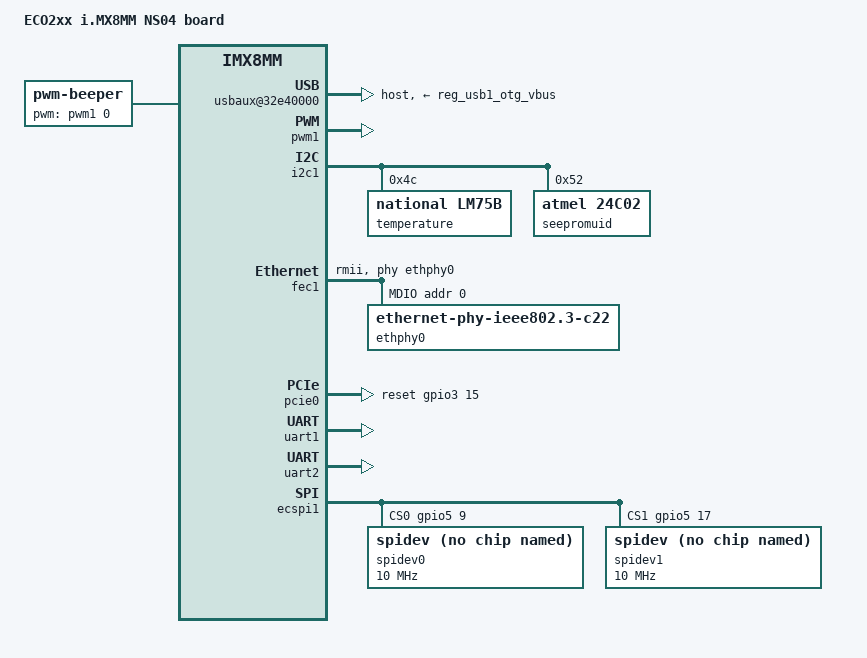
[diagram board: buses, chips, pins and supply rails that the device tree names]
/*
 * Copyright (C) 2019 Exor S.p.a
 * 
 * Written by: G. Pavoni Exor S.p.a.
 * 
 * Copyright (C) 2013 Freescale Semiconductor, Inc.
 *
 * This program is free software; you can redistribute it and/or modify
 * it under the terms of the GNU General Public License version 2 as
 * published by the Free Software Foundation.
 */
  
/dts-v1/;
  
#include "imx8mm_ns04.dtsi"
  
/ {
	model = "ECO2xx i.MX8MM NS04 board";

	aliases {
		serial0 = &uart1;
		serial1 = &uart2;
	};

	beeper {
		compatible = "pwm-beeper";
		pwms = <&pwm1 0 50000 0>;
	};

	working_hours {
	  compatible = "working_hours";
	  nvmem-names = "eeprom", "rtcnvram";
	  nvmem = <&seeprom0>, <&m41t83>;
	  status = "okay";
	};	
};

&aips4 {
	usbaux@32e40000 {
		compatible = "fsl,imx8mm-usb", "fsl,imx7d-usb";
		reg = <0x32e40000 0x200>;
		interrupts = <GIC_SPI 40 IRQ_TYPE_LEVEL_HIGH>;
		clocks = <&clk IMX8MM_CLK_USB1_CTRL_ROOT>;
		clock-names = "usb1_ctrl_root_clk";
		assigned-clocks = <&clk IMX8MM_CLK_USB_BUS>;
		assigned-clock-parents = <&clk IMX8MM_SYS_PLL2_500M>;
		fsl,usbphy = <&usbphynop1>;
		fsl,usbmisc = <&usbmisc1 0>;
		power-domains = <&usb_otg1_pd>;
		
		dr_mode = "host";
		vbus-supply = <&reg_usb1_otg_vbus>;
		picophy,pre-emp-curr-control = <3>;
		picophy,dc-vol-level-adjust = <7>;
		status = "okay";
	};	
};

/delete-node/&usbotg1;

&pwm1 {
	pinctrl-names = "default";
	pinctrl-0 = <&pinctrl_pwm1>;
	status = "okay";
};

&i2c1 {
	
	temperature:lm75b@4c {
		compatible = "national,lm75b";
		reg = <0x4c>;
	};
	
	seepromuid:seepromuid@52 {
		compatible = "atmel,24c02";
		reg = <0x52>;
	};	
};

&fec1 {
	pinctrl-names = "default";
	pinctrl-0 = <&pinctrl_fec1>;
	phy-mode = "rmii";
	phy-handle = <&ethphy0>;
	fsl,magic-packet;
	status = "okay";

	mdio {
		#address-cells = <1>;
		#size-cells = <0>;

		ethphy0: ethernet-phy@0 {
			compatible = "ethernet-phy-ieee802.3-c22";
			max-speed = <100>;
			reg = <0>;
		};
	};
};

&pcie0{
	pinctrl-names = "default";
	pinctrl-0 = <&pinctrl_pcie0>;
	reset-gpio = <&gpio3 15 0>;
	ext_osc = <1>;
	fsl,max-link-speed = <1>;
	status = "okay";
};

&mipi_dsi {
	status = "disabled";
};

&dsi_lvds_bridge{
		/delete-property/enable-gpios;
		status = "disabled";
};

&uart1 { /* Main UART */
	/delete-property/dmas;
	/delete-property/dma-names;
	pinctrl-names = "default";
	pinctrl-0 = <&pinctrl_uart1>;
	fsl,uart-has-rtscts;
	rts-gpio = <&gpio3 12 0>;
	mode-gpio = <&gpio1 1 0>;
	rxen-gpio = <&gpio3 5 0>;

	dcd-gpio = <&gpio3 24 0>;
	rng-gpio = <&gpio3 22 0>;
	dsr-gpio = <&gpio3 21 0>;
	dtr-gpio = <&gpio3 23 0>;

	status = "okay";
};

&uart2 {
	pinctrl-names = "default";
	pinctrl-0 = <&pinctrl_uart2>;
	fsl,uart-has-rtscts;
	status = "okay";
	/delete-property/dmas;
	/delete-property/dma-names;
};

&ecspi1 { /* For the xsafety module */
    fsl,spi-num-chipselects = <2>;
    cs-gpios = <&gpio5 9 0>,  /* CS0 */
               <&gpio5 17 0>; /* CS1 */
    pinctrl-names = "default";
    pinctrl-0 = <&pinctrl_ecspi1>;
    status = "okay";
	/delete-property/dmas;
	/delete-property/dma-names;
  
    spidev0: spi0@0 {
        compatible = "generic,spidev";
        reg = <0>;
        spi-max-frequency = <10000000>;
    };

    spidev1: spi0@1 {
        compatible = "generic,spidev";
        reg = <1>;
        spi-max-frequency = <10000000>;
    };
};

&iomuxc {
	imx8mm-evk {

		pinctrl_hog: hoggrp {
			fsl,pins = <
				MX8MM_IOMUXC_NAND_CE2_B_GPIO3_IO3       0x1c4   
				MX8MM_IOMUXC_NAND_CE3_B_GPIO3_IO4       0x1c4   	
			>;
		};

		pinctrl_ecspi1: ecspi1grp {
			fsl,pins = <
				MX8MM_IOMUXC_ECSPI1_SCLK_ECSPI1_SCLK    0x11
				MX8MM_IOMUXC_ECSPI1_MOSI_ECSPI1_MOSI    0x11
				MX8MM_IOMUXC_ECSPI1_MISO_ECSPI1_MISO    0x11
				MX8MM_IOMUXC_ECSPI1_SS0_GPIO5_IO9       0x11 /* cs0 */ 
				MX8MM_IOMUXC_I2C2_SDA_GPIO5_IO17        0x11 /* cs1 */
				MX8MM_IOMUXC_UART3_TXD_GPIO5_IO27       0x11 /* spigo_1 */
				MX8MM_IOMUXC_UART3_RXD_GPIO5_IO26       0x11 /* spigo_2 */
				MX8MM_IOMUXC_GPIO1_IO05_GPIO1_IO5       0x11 /* force unpair */
				MX8MM_IOMUXC_GPIO1_IO07_GPIO1_IO7       0x11 /* Lamp */
			>;
		};
		
		pinctrl_uart1: uart1grp {
			fsl,pins = <
				MX8MM_IOMUXC_SAI2_RXFS_UART1_DCE_TX     0x140
				MX8MM_IOMUXC_SAI2_RXC_UART1_DCE_RX      0x140
				MX8MM_IOMUXC_SAI2_RXD0_UART1_DCE_RTS_B	0x140
				MX8MM_IOMUXC_SAI2_TXFS_UART1_DCE_CTS_B	0x140
				MX8MM_IOMUXC_NAND_DATA06_GPIO3_IO12 0x11    /*rts-gpio dxen */
				MX8MM_IOMUXC_GPIO1_IO01_GPIO1_IO1   0x11    /*mode-gpio */
				MX8MM_IOMUXC_NAND_CLE_GPIO3_IO5     0x11    /*rxen-gpio */
				MX8MM_IOMUXC_SAI5_RXD3_GPIO3_IO24   0x11    /*dcd-gpio */
				MX8MM_IOMUXC_SAI5_RXD1_GPIO3_IO22   0x11    /*rng-gpio */
				MX8MM_IOMUXC_SAI5_RXD0_GPIO3_IO21   0x11    /*dsr-gpio */
				MX8MM_IOMUXC_SAI5_RXD2_GPIO3_IO23   0x11    /*dtr-gpio */
			>;
		};	

		pinctrl_uart2: uart2grp {
			fsl,pins = <
				MX8MM_IOMUXC_SAI3_TXFS_UART2_DCE_RX     0x140
				MX8MM_IOMUXC_SAI3_RXD_UART2_DCE_RTS_B   0x140
				MX8MM_IOMUXC_SAI3_RXC_UART2_DCE_CTS_B   0x140
				MX8MM_IOMUXC_SAI3_TXC_UART2_DCE_TX      0x140
			>;
		};
		
		pinctrl_pwm1: pwm1grp {
			fsl,pins = <
				MX8MM_IOMUXC_I2C4_SDA_PWM1_OUT            0x1c4
			>;
		};

		pinctrl_pcie0: pcie0grp {
			fsl,pins = <
				MX8MM_IOMUXC_NAND_RE_B_GPIO3_IO15         0x1c4
			>;
		};

		pinctrl_fec1: fec1grp {
			fsl,pins = <
				MX8MM_IOMUXC_ENET_MDC_ENET1_MDC		0x3
				MX8MM_IOMUXC_ENET_MDIO_ENET1_MDIO	0x3
				MX8MM_IOMUXC_ENET_TD2_ENET1_TX_CLK	0x4000001f
				MX8MM_IOMUXC_ENET_TD1_ENET1_RGMII_TD1	0x56
				MX8MM_IOMUXC_ENET_TD0_ENET1_RGMII_TD0	0x56
				MX8MM_IOMUXC_ENET_RD1_ENET1_RGMII_RD1	0x56
				MX8MM_IOMUXC_ENET_RD0_ENET1_RGMII_RD0	0x56
				MX8MM_IOMUXC_ENET_RXC_ENET1_RX_ER	0x56
				MX8MM_IOMUXC_ENET_RX_CTL_ENET1_RGMII_RX_CTL	0x56
				MX8MM_IOMUXC_ENET_TX_CTL_ENET1_RGMII_TX_CTL	0x56
			>;
		};
	};
};

